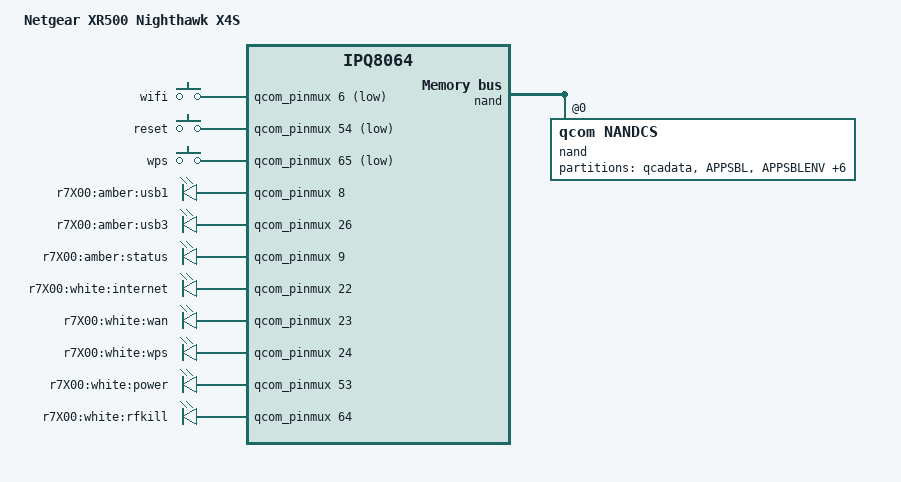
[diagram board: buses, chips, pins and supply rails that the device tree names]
// SPDX-License-Identifier: GPL-2.0-or-later OR MIT

#include "qcom-ipq8065-nighthawk.dtsi"

/ {
	model = "Netgear XR500 Nighthawk X4S";
	compatible = "netgear,xr500", "qcom,ipq8065", "qcom,ipq8064";

	keys {
		compatible = "gpio-keys";
		pinctrl-0 = <&button_pins>;
		pinctrl-names = "default";

		wifi {
			label = "wifi";
			gpios = <&qcom_pinmux 6 GPIO_ACTIVE_LOW>;
			linux,code = <KEY_RFKILL>;
			debounce-interval = <60>;
			wakeup-source;
		};

		reset {
			label = "reset";
			gpios = <&qcom_pinmux 54 GPIO_ACTIVE_LOW>;
			linux,code = <KEY_RESTART>;
			debounce-interval = <60>;
			wakeup-source;
		};

		wps {
			label = "wps";
			gpios = <&qcom_pinmux 65 GPIO_ACTIVE_LOW>;
			linux,code = <KEY_WPS_BUTTON>;
			debounce-interval = <60>;
			wakeup-source;
		};
	};

	gpio-leds {
		compatible = "gpio-leds";
		pinctrl-0 = <&led_pins>;
		pinctrl-names = "default";

		usb1 {
			label = "r7X00:amber:usb1";
			gpios = <&qcom_pinmux 8 0>;
		};

		usb3 {
			label = "r7X00:amber:usb3";
			gpios = <&qcom_pinmux 26 0>;
		};

		status {
			label = "r7X00:amber:status";
			gpios = <&qcom_pinmux 9 0>;
		};

		internet {
			label = "r7X00:white:internet";
			gpios = <&qcom_pinmux 22 0>;
		};

		wan {
			label = "r7X00:white:wan";
			gpios = <&qcom_pinmux 23 0>;
		};

		wps {
			label = "r7X00:white:wps";
			gpios = <&qcom_pinmux 24 0>;
		};

		power {
			label = "r7X00:white:power";
			gpios = <&qcom_pinmux 53 0>;
			default-state = "on";
		};

		rfkill {
			label = "r7X00:white:rfkill";
			gpios = <&qcom_pinmux 64 0>;
		};

//		wifi {
//			label = "r7X00:white:wifi";
//			gpios = <&qcom_pinmux 67 0>;
//		};
	};
};

&nand {
	status = "okay";

	nand@0 {
		reg = <0>;
		compatible = "qcom,nandcs";

		nand-ecc-strength = <4>;
		nand-bus-width = <8>;
		nand-ecc-step-size = <512>;
		qcom,boot-partitions = <0x0 0x1180000>;

				partitions {
					compatible = "fixed-partitions";
					#address-cells = <1>;
					#size-cells = <1>;

			qcadata@0 {
				label = "qcadata";
				reg = <0x0000000 0x0c80000>;
				read-only;
			};

			APPSBL@c80000 {
				label = "APPSBL";
				reg = <0x0c80000 0x0500000>;
				read-only;
			};

			APPSBLENV@1180000 {
				label = "APPSBLENV";
				reg = <0x1180000 0x0080000>;
				read-only;
			};

			art: art@1200000 {
				label = "art";
				reg = <0x1200000 0x0140000>;
			};
			
			artbak@1340000 {
				label = "artbak";
				reg = <0x1340000 0x0140000>;
				read-only;
			};

			linux@1480000 {
				label = "linux";
				reg = <0x1480000 0x1E00000>;
			};
			
			nvram@3280000 {
				label = "nvram";
				reg = <0x3280000 0x0200000>;
			};

			ddwrt@4000000 {
				label = "ddwrt";
				reg = <0x4000000 0xA680000>;
			};

			reserved@e680000 {
				label = "reserved";
				reg = <0xe680000 0x780000>;
				read-only;
			};
			};
	};
};
